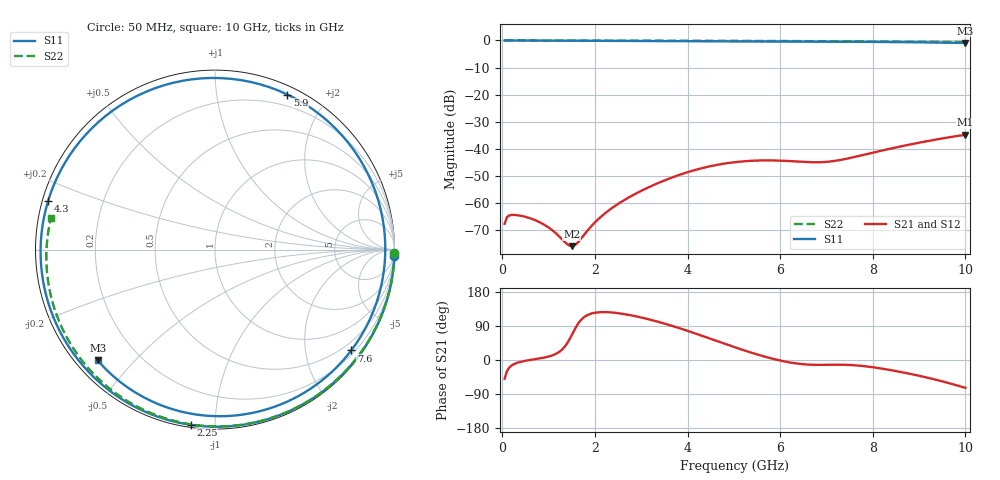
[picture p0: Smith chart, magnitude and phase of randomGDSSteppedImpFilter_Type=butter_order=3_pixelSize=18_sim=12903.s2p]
! freq	dB(S11)	phase(S11)	dB(S12)	phase(S12)
!  dB(S21)	phase(S21)	dB(S22)	phase(S22)
!S-par simulation data
#  GHz  S  DB  R 50
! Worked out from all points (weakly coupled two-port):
!   200 points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, 50 MHz to 10 GHz, reference 50 ohm
!   highest |S21| = -34.80 dB at 10 GHz (marker M1); lowest = -75.9 dB at 1.5 GHz (marker M2)
!   lowest |S11| = -0.9 dB at 10 GHz (marker M3), VSWR 18.77, Z = 3.08 - j19.8 ohm
!   |S11| at or under -10 dB: nowhere
!   |S22| runs from -0.6 to 0.0 dB; largest |S21 - S12| = 0
!   S11 on the Smith chart (normalised r, x): 50 MHz: 0, -52; 2.25 GHz: 0.01, -0.87; 4.3 GHz: 0.02, +0.14; 5.9 GHz: 0.08, +1.57; 7.6 GHz: 0.29, -3.01; 10 GHz: 0.06, -0.40
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0.05  -0.00 -2.2  -67.61 -49.3  -67.61 -49.3  -0.00 -1.0
0.15  -0.00 -6.6  -64.54 -20.2  -64.54 -20.2  -0.00 -3.1
0.6  -0.03 -26.3  -65.56 0.0  -65.56 0.0  -0.01 -12.5
1  -0.05 -43.7  -68.99 9.1  -68.99 9.1  -0.03 -20.8
1.5  -0.08 -65.4  -75.87 66.0  -75.87 66.0  -0.04 -31.0
1.75  -0.10 -76.2  -72.04 111.5  -72.04 111.5  -0.05 -36.0
2.25  -0.12 -97.9  -63.32 126.3  -63.32 126.3  -0.06 -46.0
2.8  -0.16 -122.3  -57.24 117.4  -57.24 117.4  -0.07 -56.8
3.4  -0.20 -150.1  -52.34 99.7  -52.34 99.7  -0.09 -68.3
3.85  -0.24 -172.4  -49.42 83.0  -49.42 83.0  -0.11 -76.8
4.3  -0.28 163.8  -47.14 64.4  -47.14 64.4  -0.12 -85.1
4.65  -0.31 144.0  -45.84 49.3  -45.84 49.3  -0.14 -91.5
5.05  -0.35 119.9  -44.84 32.4  -44.84 32.4  -0.15 -98.7
5.5  -0.39 91.2  -44.29 14.8  -44.29 14.8  -0.18 -106.7
5.9  -0.41 65.0  -44.26 1.5  -44.26 1.5  -0.20 -113.8
6.3  -0.43 38.8  -44.59 -8.3  -44.59 -8.3  -0.22 -120.9
6.7  -0.45 13.7  -44.93 -12.6  -44.93 -12.6  -0.25 -127.9
7.1  -0.46 -9.8  -44.60 -12.5  -44.60 -12.5  -0.28 -135.0
7.6  -0.50 -36.5  -42.99 -13.9  -42.99 -13.9  -0.33 -143.9
8.35  -0.58 -71.5  -40.01 -25.8  -40.01 -25.8  -0.41 -157.7
9.1  -0.71 -102.2  -37.38 -44.4  -37.38 -44.4  -0.50 -172.1
10  -0.93 -136.6  -34.80 -73.5  -34.80 -73.5  -0.62 169.2
